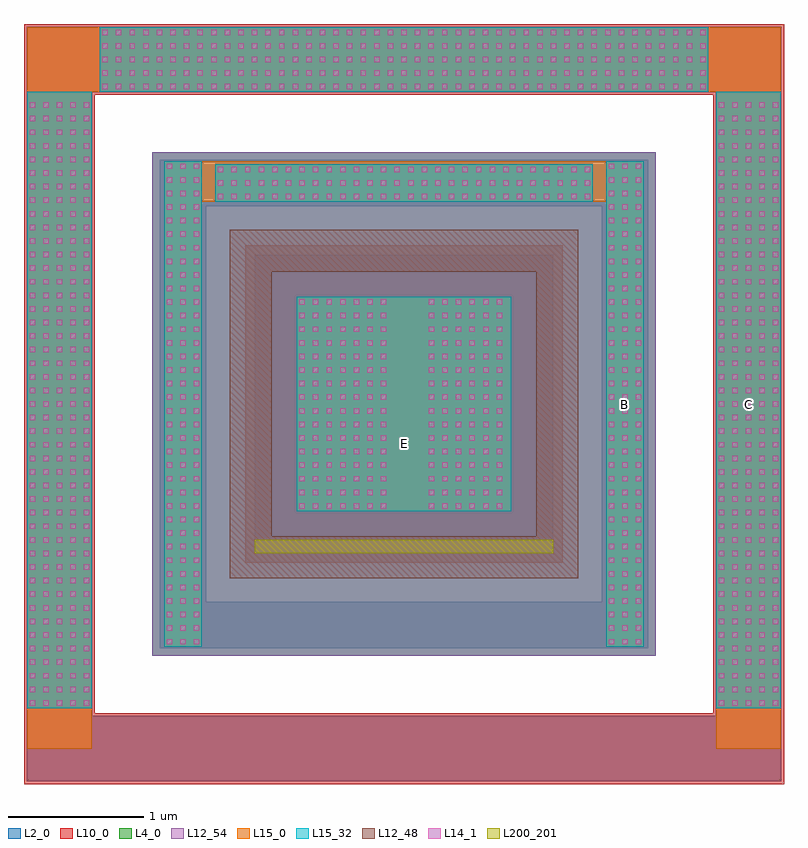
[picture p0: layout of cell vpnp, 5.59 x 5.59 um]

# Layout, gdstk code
import gdstk
lib = gdstk.Library(unit=1e-6, precision=1e-09)
def R(c, l, rs):  # rectangles x0, y0, x1, y1
    for r in rs: c.add(gdstk.rectangle(r[:2], r[2:], *l))
def A(c, l, x, y, w, h, nx, ny, dx, dy):  # array of equal rectangles
    R(c, l, [(x+i*dx, y+j*dy, x+i*dx+w, y+j*dy+h) for i in range(nx) for j in range(ny)])
L2_0 = (2, 0)
L4_0 = (4, 0)
L10_0 = (10, 0)
L12_48 = (12, 48)
L12_54 = (12, 54)
L14_1 = (14, 1)
L15_0 = (15, 0)
L15_32 = (15, 32)
L200_201 = (200, 201)

vpnp = lib.new_cell('vpnp')
R(vpnp, L2_0, [(-9.279,-1.309,-3.727,-0.829), (-9.279,-0.829,-8.799,3.763), (-4.207,-0.829,-3.727,3.763), (-8.299,-0.329,-4.707,0.011), (-8.299,0.011,-7.959,2.923), (-5.047,0.011,-4.707,2.923), (-7.603,0.367,-5.403,2.567), (-8.299,2.923,-4.707,3.263), (-9.279,3.763,-3.727,4.243)])
R(vpnp, L4_0, [(-8.355,-0.385,-4.651,3.319)])
R(vpnp, L10_0, [(-9.3,-1.33,-3.706,-0.808), (-9.3,-0.808,-8.778,3.742), (-4.228,-0.808,-3.706,3.742), (-7.673,0.297,-5.333,2.637), (-9.3,3.742,-3.706,4.264)])
R(vpnp, L12_48, [(-7.784,0.186,-5.222,0.492), (-7.784,0.492,-7.478,2.442), (-5.528,0.492,-5.222,2.442), (-7.784,2.442,-5.222,2.748)])
R(vpnp, L12_54, [(-8.355,-0.385,-4.651,3.319)])
A(vpnp, L14_1, -9.259, -0.753, 0.04, 0.04, 5, 45, 0.1, 0.1)
A(vpnp, L14_1, -4.187, -0.753, 0.04, 0.04, 5, 45, 0.1, 0.1)
A(vpnp, L14_1, -8.249, -0.303, 0.04, 0.04, 3, 36, 0.1, 0.1)
A(vpnp, L14_1, -4.997, -0.303, 0.04, 0.04, 3, 36, 0.1, 0.1)
A(vpnp, L14_1, -7.273, 0.697, 0.04, 0.04, 7, 16, 0.1, 0.1)
A(vpnp, L14_1, -6.321, 0.697, 0.04, 0.04, 6, 16, 0.1, 0.1)
A(vpnp, L14_1, -7.873, 2.973, 0.04, 0.04, 28, 3, 0.1, 0.1)
A(vpnp, L14_1, -8.723, 3.783, 0.04, 0.04, 45, 5, 0.1, 0.1)
R(vpnp, L15_0, [(-9.277,-1.069,-8.801,4.241), (-4.205,-1.069,-3.729,4.241), (-8.267,-0.321,-7.991,3.255), (-5.015,-0.321,-4.739,3.255), (-7.291,0.679,-5.715,2.255), (-7.991,2.955,-5.015,3.255), (-8.801,3.765,-4.205,4.241)])
R(vpnp, L15_32, [(-9.277,-0.771,-8.801,3.765), (-4.205,-0.771,-3.729,3.765), (-8.267,-0.321,-7.991,3.255), (-5.015,-0.321,-4.739,3.255), (-7.291,0.679,-5.715,2.255), (-7.891,2.955,-5.115,3.231), (-8.741,3.765,-4.265,4.241)])
R(vpnp, L200_201, [(-7.603,0.367,-5.403,0.467)])
vpnp.add(gdstk.Label('E', (-6.503,1.179), layer=15, texttype=20))
vpnp.add(gdstk.Label('B', (-4.877,1.467), layer=15, texttype=20))
vpnp.add(gdstk.Label('C', (-3.967,1.467), layer=15, texttype=20))

lib.write_gds('vpnp.gds')
